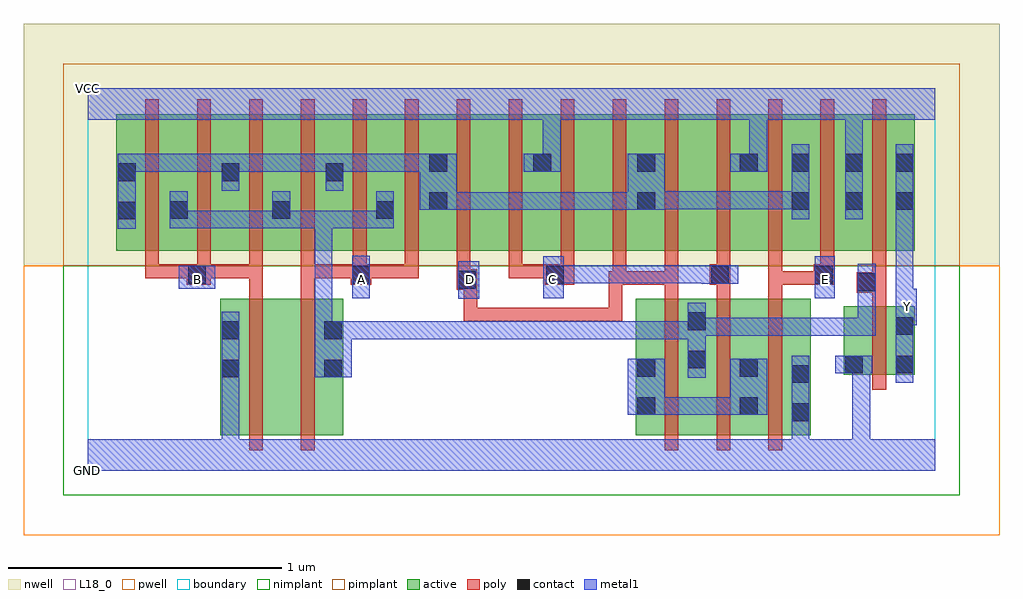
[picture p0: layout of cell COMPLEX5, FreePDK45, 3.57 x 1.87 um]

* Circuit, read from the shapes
.subckt COMPLEX5 A B C D E GND VCC Y
M1 n1 B GND VSUBS nfet w=0.5u l=0.05u
M2 n2 A n1 VSUBS nfet w=0.5u l=0.05u
M3 n2 D n3 VSUBS nfet w=0.5u l=0.05u
M4 n3 C n2 VSUBS nfet w=0.5u l=0.05u
M5 GND E n3 VSUBS nfet w=0.5u l=0.05u
M6 Y n2 GND VSUBS nfet w=0.25u l=0.05u
M7 n2 B n4 n5 pfet w=0.5u l=0.05u m=3
M8 n4 A n2 n5 pfet w=0.5u l=0.05u m=3
M9 n6 D n4 n5 pfet w=0.5u l=0.05u
M10 VCC C n6 n5 pfet w=0.5u l=0.05u
M11 n7 C VCC n5 pfet w=0.5u l=0.05u
M12 n4 D n7 n5 pfet w=0.5u l=0.05u
M13 n8 D n4 n5 pfet w=0.5u l=0.05u
M14 VCC C n8 n5 pfet w=0.5u l=0.05u
M15 n4 E VCC n5 pfet w=0.5u l=0.05u m=2
M16 Y n2 VCC n5 pfet w=0.5u l=0.05u
.ends

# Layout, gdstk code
import gdstk
lib = gdstk.Library(unit=1e-6, precision=1e-09)
def R(c, l, rs):  # rectangles x0, y0, x1, y1
    for r in rs: c.add(gdstk.rectangle(r[:2], r[2:], *l))
def A(c, l, x, y, w, h, nx, ny, dx, dy):  # array of equal rectangles
    R(c, l, [(x+i*dx, y+j*dy, x+i*dx+w, y+j*dy+h) for i in range(nx) for j in range(ny)])
active = (1, 0)
pwell = (2, 0)
nwell = (3, 0)
nimplant = (4, 0)
pimplant = (5, 0)
poly = (9, 0)
contact = (10, 0)
metal1 = (11, 0)
L18_0 = (18, 0)
boundary = (235, 0)

complex5 = lib.new_cell('COMPLEX5')
A(complex5, active, 1.245, 0.805, 0.225, 0.5, 3, 1, 0.38, 0)
A(complex5, active, 0.485, 0.807, 0.075, 0.393, 3, 1, 0.38, 0)
R(complex5, active, [(0.485,0.13,0.71,0.63), (0.71,0.13,0.935,0.63), (2.005,0.13,2.265,0.63), (2.19,0.13,2.455,0.63), (2.38,0.13,2.645,0.63), (0.485,0.157,0.56,0.63), (2.57,0.157,2.645,0.63), (0.86,0.195,0.935,0.63), (2.005,0.195,2.08,0.63), (2.19,0.195,2.265,0.592), (2.38,0.195,2.455,0.592), (2.765,0.352,2.84,0.602), (2.765,0.352,3.025,0.602), (2.95,0.352,3.025,0.602), (0.105,0.805,0.37,1.305), (0.105,0.805,0.18,1.2), (0.295,0.805,0.56,1.305), (0.485,0.805,0.745,1.305), (0.67,0.805,0.94,1.305), (0.865,0.805,1.125,1.305), (1.05,0.805,1.32,1.305), (1.47,0.805,1.7,1.305), (1.85,0.805,2.08,1.305), (2.23,0.805,2.455,1.305), (2.38,0.805,2.645,1.305), (2.57,0.805,2.84,1.305), (2.765,0.805,3.025,1.305), (2.95,0.805,3.025,1.2), (0.295,0.807,0.37,1.07), (0.67,0.807,0.745,1.07), (1.05,0.807,1.125,1.07), (1.625,0.807,1.7,1.305), (2.005,0.807,2.08,1.2), (2.38,0.807,2.455,1.305), (2.57,0.807,2.645,1.2), (2.765,0.807,2.84,1.305)])
R(complex5, pwell, [(-0.235,-0.235,3.335,0.75)])
R(complex5, nwell, [(-0.235,0.75,3.335,1.635)])
R(complex5, nimplant, [(-0.09,-0.09,3.19,0.75)])
R(complex5, pimplant, [(-0.09,0.75,3.19,1.49)])
A(complex5, poly, 2.11, 0.075, 0.05, 0.61, 3, 1, 0.19, 0)
A(complex5, poly, 2.11, 0.635, 0.05, 0.095, 3, 1, 0.19, 0)
A(complex5, poly, 0.21, 0.705, 0.05, 0.095, 6, 1, 0.19, 0)
A(complex5, poly, 0.21, 0.75, 0.05, 0.61, 15, 1, 0.19, 0)
R(complex5, poly, [(0.59,0.075,0.64,0.685), (0.78,0.075,0.83,0.685), (2.87,0.297,2.92,0.657), (1.375,0.547,1.425,0.597), (1.375,0.547,1.425,0.597), (1.375,0.547,1.425,0.597), (1.375,0.547,1.557,0.597), (1.375,0.547,1.425,0.712), (1.507,0.547,1.557,0.597), (1.507,0.547,1.557,0.597), (1.507,0.547,1.557,0.597), (1.507,0.547,1.822,0.597), (1.772,0.547,1.822,0.597), (1.772,0.547,1.955,0.597), (1.905,0.547,1.955,0.597), (1.905,0.547,1.955,0.597), (1.905,0.547,1.955,0.597), (1.905,0.547,1.955,0.597), (1.905,0.547,1.955,0.597), (1.905,0.547,1.955,0.73), (2.87,0.607,2.92,0.702), (0.59,0.635,0.64,0.755), (0.78,0.635,0.83,0.755), (2.812,0.652,2.92,0.727), (1.35,0.662,1.425,0.737), (1.375,0.662,1.425,0.712), (1.375,0.662,1.425,0.712), (2.87,0.677,2.92,0.8), (0.362,0.68,0.45,0.755), (0.962,0.68,1.037,0.755), (1.672,0.68,1.78,0.755), (1.905,0.68,1.97,0.73), (1.92,0.68,1.97,0.8), (1.92,0.68,2.16,0.73), (2.11,0.68,2.16,0.73), (2.11,0.68,2.16,0.73), (2.11,0.68,2.16,0.73), (2.11,0.68,2.16,0.8), (2.275,0.68,2.35,0.755), (2.49,0.68,2.54,0.73), (2.49,0.68,2.705,0.73), (2.49,0.68,2.54,0.8), (2.655,0.68,2.705,0.73), (2.655,0.68,2.705,0.73), (2.655,0.68,2.73,0.755), (1.35,0.687,1.4,0.8), (0.21,0.705,0.26,0.755), (0.21,0.705,0.26,0.755), (0.21,0.705,0.26,0.755), (0.21,0.705,0.412,0.755), (0.4,0.705,0.64,0.755), (0.59,0.705,0.64,0.755), (0.59,0.705,0.64,0.755), (0.59,0.705,0.64,0.755), (0.78,0.705,0.83,0.755), (0.78,0.705,0.83,0.755), (0.78,0.705,0.83,0.755), (0.78,0.705,1.012,0.755), (0.987,0.705,1.21,0.755), (1.16,0.705,1.21,0.755), (1.16,0.705,1.21,0.755), (1.16,0.705,1.21,0.755), (1.54,0.705,1.59,0.8), (1.54,0.705,1.59,0.755), (1.54,0.705,1.59,0.755), (1.54,0.705,1.59,0.755), (1.54,0.705,1.722,0.755), (1.73,0.705,1.78,0.8), (2.3,0.705,2.35,0.8), (2.68,0.705,2.73,0.8)])
A(complex5, contact, 0.11, 1.06, 0.065, 0.065, 3, 1, 0.38, 0)
A(complex5, contact, 1.25, 1.095, 0.065, 0.065, 3, 1, 0.38, 0)
R(complex5, contact, [(2.575,0.182,2.64,0.247), (2.01,0.205,2.075,0.27), (2.385,0.205,2.45,0.27), (2.575,0.322,2.64,0.387), (0.49,0.342,0.555,0.407), (0.865,0.342,0.93,0.407), (2.01,0.345,2.075,0.41), (2.385,0.345,2.45,0.41), (2.77,0.357,2.835,0.422), (2.955,0.357,3.02,0.422), (2.195,0.375,2.26,0.44), (0.49,0.482,0.555,0.547), (0.865,0.482,0.93,0.547), (2.955,0.497,3.02,0.562), (2.195,0.515,2.26,0.58), (2.817,0.657,2.882,0.722), (1.355,0.667,1.42,0.732), (0.367,0.685,0.432,0.75), (0.967,0.685,1.032,0.75), (1.677,0.685,1.742,0.75), (2.28,0.685,2.345,0.75), (2.66,0.685,2.725,0.75), (0.11,0.92,0.175,0.985), (0.3,0.922,0.365,0.987), (0.675,0.922,0.74,0.987), (1.055,0.922,1.12,0.987), (1.25,0.955,1.315,1.02), (2.01,0.955,2.075,1.02), (2.575,0.955,2.64,1.02), (2.77,0.955,2.835,1.02), (2.955,0.955,3.02,1.02), (2.385,1.095,2.45,1.16), (2.575,1.095,2.64,1.16), (2.77,1.095,2.835,1.16), (2.955,1.095,3.02,1.16)])
R(complex5, metal1, [(0,0,3.1,0.115), (0.49,0.05,0.555,0.372), (2.575,0.05,2.64,0.212), (2.797,0.05,2.862,0.115), (2.797,0.05,2.862,0.115), (2.797,0.05,2.862,0.115), (2.797,0.05,2.862,0.115), (2.797,0.05,2.862,0.422), (2.575,0.147,2.64,0.422), (2.575,0.147,2.64,0.212), (2.575,0.147,2.64,0.212), (1.975,0.205,2.11,0.41), (2.045,0.205,2.11,0.27), (2.045,0.205,2.11,0.27), (2.045,0.205,2.277,0.27), (2.212,0.205,2.277,0.27), (2.212,0.205,2.415,0.27), (2.35,0.205,2.415,0.27), (2.35,0.205,2.415,0.27), (2.35,0.205,2.485,0.41), (0.49,0.307,0.555,0.582), (0.49,0.307,0.555,0.372), (0.49,0.307,0.555,0.372), (2.955,0.322,3.02,0.597), (2.195,0.34,2.26,0.615), (0.83,0.342,0.965,0.547), (2.735,0.357,2.87,0.422), (2.797,0.357,2.862,0.422), (2.797,0.357,2.862,0.422), (0.83,0.482,0.895,0.547), (0.83,0.482,0.895,0.547), (0.83,0.482,0.895,0.952), (0.9,0.482,1.075,0.547), (1.01,0.482,1.075,0.547), (1.01,0.482,1.142,0.547), (1.077,0.482,1.142,0.547), (1.077,0.482,1.212,0.547), (1.147,0.482,1.212,0.547), (1.147,0.482,1.28,0.547), (1.215,0.482,1.28,0.547), (1.215,0.482,1.352,0.547), (1.287,0.482,1.352,0.547), (1.287,0.482,1.49,0.547), (1.425,0.482,1.49,0.547), (1.425,0.482,1.49,0.547), (1.425,0.482,1.49,0.547), (1.425,0.482,1.627,0.547), (1.562,0.482,1.627,0.547), (1.562,0.482,1.627,0.547), (1.562,0.482,1.627,0.547), (1.562,0.482,1.902,0.547), (1.837,0.482,1.902,0.547), (1.837,0.482,1.902,0.547), (1.837,0.482,1.902,0.547), (1.837,0.482,2.11,0.547), (2.045,0.482,2.11,0.547), (2.045,0.482,2.11,0.547), (2.045,0.482,2.11,0.547), (2.045,0.482,2.26,0.547), (2.195,0.495,2.26,0.56), (2.195,0.495,2.26,0.56), (2.195,0.495,2.45,0.56), (2.385,0.495,2.45,0.56), (2.385,0.495,2.587,0.56), (2.522,0.495,2.587,0.56), (2.522,0.495,2.587,0.56), (2.522,0.495,2.587,0.56), (2.522,0.495,2.725,0.56), (2.66,0.495,2.725,0.56), (2.66,0.495,2.882,0.56), (2.817,0.495,2.882,0.56), (2.817,0.495,2.882,0.687), (2.955,0.532,3.02,0.597), (2.955,0.532,3.032,0.667), (2.955,0.602,3.02,0.985), (2.817,0.622,2.882,0.687), (2.817,0.622,2.882,0.687), (2.817,0.622,2.882,0.757), (1.355,0.63,1.432,0.767), (0.967,0.632,1.032,0.787), (1.667,0.632,1.742,0.785), (2.66,0.632,2.732,0.785), (0.332,0.667,0.467,0.75), (2.245,0.685,2.38,0.752), (1.677,0.687,1.902,0.752), (1.837,0.687,1.902,0.752), (1.837,0.687,1.902,0.752), (1.837,0.687,1.902,0.752), (1.837,0.687,2.04,0.752), (1.975,0.687,2.04,0.752), (1.975,0.687,2.04,0.752), (1.975,0.687,2.04,0.752), (1.975,0.687,2.247,0.752), (2.182,0.687,2.247,0.752), (2.182,0.687,2.31,0.752), (0.11,0.885,0.175,1.16), (0.3,0.887,0.365,0.952), (0.3,0.887,0.365,0.952), (0.3,0.887,0.365,1.022), (0.3,0.887,0.502,0.952), (0.437,0.887,0.502,0.952), (0.437,0.887,0.74,0.952), (0.675,0.887,0.74,0.952), (0.675,0.887,0.74,0.952), (0.675,0.887,0.74,1.022), (0.675,0.887,0.895,0.952), (0.83,0.887,0.895,0.952), (0.83,0.887,0.895,0.952), (0.83,0.887,0.895,0.952), (0.83,0.887,1.075,0.952), (1.01,0.887,1.075,0.952), (1.01,0.887,1.12,0.952), (1.055,0.887,1.12,1.022), (2.575,0.92,2.64,1.195), (2.77,0.92,2.835,1.195), (2.955,0.92,3.02,1.195), (1.215,0.955,1.35,1.16), (1.285,0.955,1.35,1.02), (1.285,0.955,1.35,1.02), (1.285,0.955,1.35,1.02), (1.285,0.955,1.35,1.02), (1.285,0.955,1.487,1.02), (1.422,0.955,1.487,1.02), (1.422,0.955,1.49,1.02), (1.425,0.955,1.49,1.02), (1.425,0.955,1.627,1.02), (1.562,0.955,1.627,1.02), (1.562,0.955,1.765,1.02), (1.7,0.955,1.765,1.02), (1.7,0.955,1.765,1.02), (1.7,0.955,1.765,1.02), (1.7,0.955,1.902,1.02), (1.837,0.955,1.902,1.02), (1.837,0.955,2.04,1.02), (1.975,0.955,2.11,1.16), (2.045,0.957,2.11,1.022), (2.045,0.957,2.11,1.022), (2.045,0.957,2.277,1.022), (2.212,0.957,2.277,1.022), (2.212,0.957,2.277,1.022), (2.212,0.957,2.277,1.022), (2.212,0.957,2.415,1.022), (2.35,0.957,2.415,1.022), (2.35,0.957,2.587,1.022), (2.522,0.957,2.587,1.022), (2.522,0.957,2.64,1.022), (0.49,1.025,0.555,1.16), (0.87,1.025,0.935,1.16), (0.11,1.095,0.175,1.16), (0.11,1.095,0.175,1.16), (0.11,1.095,0.312,1.16), (0.247,1.095,0.312,1.16), (0.247,1.095,0.312,1.16), (0.247,1.095,0.312,1.16), (0.247,1.095,0.555,1.16), (0.49,1.095,0.757,1.16), (0.692,1.095,0.757,1.16), (0.692,1.095,0.757,1.16), (0.692,1.095,0.757,1.16), (0.692,1.095,0.895,1.16), (0.83,1.095,0.895,1.16), (0.83,1.095,0.935,1.16), (0.87,1.095,1.032,1.16), (0.967,1.095,1.032,1.16), (0.967,1.095,1.102,1.16), (1.037,1.095,1.102,1.16), (1.037,1.095,1.212,1.16), (1.147,1.095,1.212,1.16), (1.147,1.095,1.28,1.16), (1.595,1.095,1.73,1.16), (1.665,1.095,1.73,1.35), (2.35,1.095,2.485,1.16), (2.42,1.095,2.485,1.35), (2.77,1.13,2.835,1.35), (0,1.285,3.1,1.4)])
R(complex5, L18_0, [(0,0,3.1,0.115), (0.49,0.05,0.555,0.372), (2.575,0.05,2.64,0.212), (2.797,0.05,2.862,0.115), (2.797,0.05,2.862,0.115), (2.797,0.05,2.862,0.115), (2.797,0.05,2.862,0.115), (2.797,0.05,2.862,0.422), (2.575,0.147,2.64,0.212), (2.575,0.147,2.64,0.212), (2.575,0.147,2.64,0.422), (0.49,0.307,0.555,0.372), (0.49,0.307,0.555,0.372), (0.49,0.307,0.555,0.582), (2.955,0.322,3.02,0.597), (2.735,0.357,2.87,0.422), (2.797,0.357,2.862,0.422), (2.797,0.357,2.862,0.422), (2.955,0.532,3.02,0.597), (2.955,0.532,3.032,0.667), (2.967,0.567,3.032,0.632), (2.955,0.602,3.02,0.985), (1.355,0.63,1.432,0.767), (0.967,0.632,1.032,0.787), (1.667,0.632,1.742,0.785), (2.66,0.632,2.732,0.785), (0.332,0.667,0.467,0.75), (0.367,0.667,0.432,0.732), (0.967,0.667,1.032,0.732), (1.367,0.667,1.432,0.732), (1.667,0.667,1.732,0.732), (2.667,0.667,2.732,0.732), (2.245,0.685,2.38,0.752), (1.677,0.687,1.902,0.752), (1.837,0.687,1.902,0.752), (1.837,0.687,1.902,0.752), (1.837,0.687,1.902,0.752), (1.837,0.687,2.04,0.752), (1.975,0.687,2.04,0.752), (1.975,0.687,2.04,0.752), (1.975,0.687,2.04,0.752), (1.975,0.687,2.247,0.752), (2.182,0.687,2.247,0.752), (2.182,0.687,2.31,0.752), (2.77,0.92,2.835,1.195), (2.955,0.92,3.02,1.195), (1.595,1.095,1.73,1.16), (1.665,1.095,1.73,1.35), (2.35,1.095,2.485,1.16), (2.42,1.095,2.485,1.35), (2.77,1.13,2.835,1.35), (0,1.285,3.1,1.4)])
R(complex5, boundary, [(0,0,3.1,1.4)])
complex5.add(gdstk.Label('A', (1,0.7), layer=11, texttype=0))
complex5.add(gdstk.Label('B', (0.4,0.7), layer=11, texttype=0))
complex5.add(gdstk.Label('C', (1.7,0.7), layer=11, texttype=0))
complex5.add(gdstk.Label('D', (1.4,0.7), layer=11, texttype=0))
complex5.add(gdstk.Label('E', (2.7,0.7), layer=11, texttype=0))
complex5.add(gdstk.Label('Y', (3,0.6), layer=11, texttype=0))
complex5.add(gdstk.Label('VCC', (0,1.4), layer=11, texttype=0))
complex5.add(gdstk.Label('GND', (0,0), layer=11, texttype=0))

lib.write_gds('COMPLEX5.gds')
